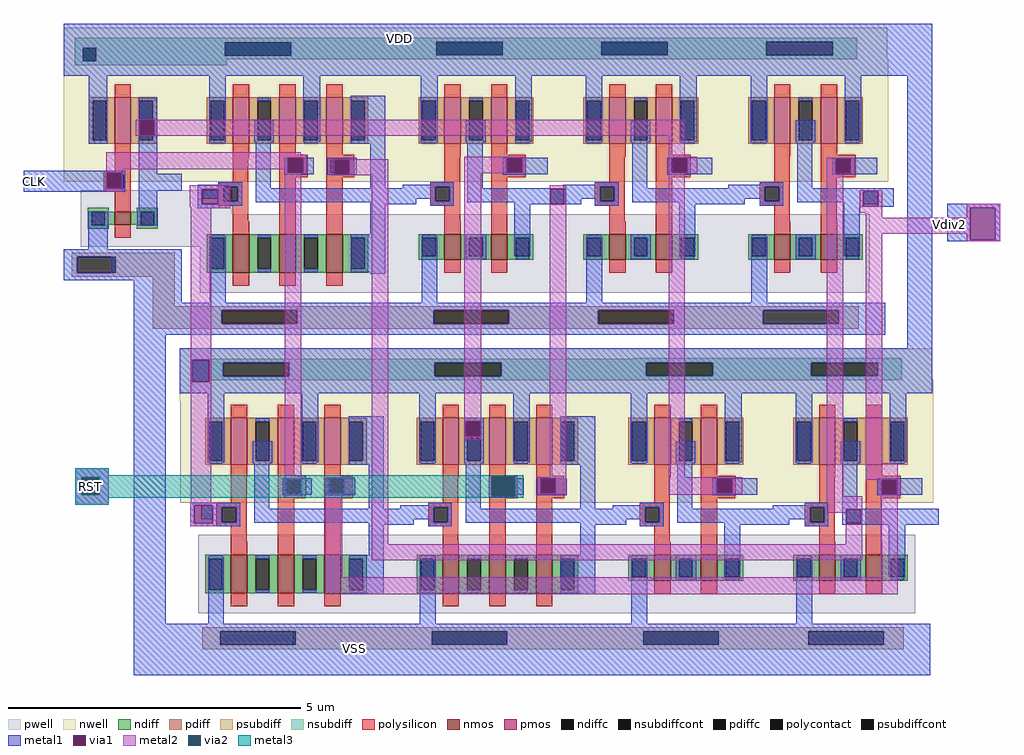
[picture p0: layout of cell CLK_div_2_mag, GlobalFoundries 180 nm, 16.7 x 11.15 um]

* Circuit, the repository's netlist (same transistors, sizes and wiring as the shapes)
* NGSPICE file created from CLK_div_2_mag.ext - technology: gf180mcuC

.subckt pmos_3p3_M8SWPS a_n28_n124# a_n116_n80# a_28_n80# w_n202_n210#
X0 a_28_n80# a_n28_n124# a_n116_n80# w_n202_n210# pfet_03v3 ad=0.352p pd=2.48u as=0.352p ps=2.48u w=0.8u l=0.28u
.ends

.subckt nmos_3p3_5QNVWA a_n116_n44# a_28_n44# a_n28_n88# VSUBS
X0 a_28_n44# a_n28_n88# a_n116_n44# VSUBS nfet_03v3 ad=0.194p pd=1.76u as=0.194p ps=1.76u w=0.44u l=0.28u
.ends

.subckt nand2_mag IN2 OUT IN1 VDD VSS
Xpmos_3p3_M8SWPS_0 IN1 OUT VDD VDD pmos_3p3_M8SWPS
Xpmos_3p3_M8SWPS_1 IN2 VDD OUT VDD pmos_3p3_M8SWPS
Xnmos_3p3_5QNVWA_0 VSS m1_186_70# IN2 VSS nmos_3p3_5QNVWA
Xnmos_3p3_5QNVWA_1 m1_186_70# OUT IN1 VSS nmos_3p3_5QNVWA
.ends

.subckt nmos_3p3_VGTVWA a_n116_n66# a_28_n66# a_n28_n110# VSUBS
X0 a_28_n66# a_n28_n110# a_n116_n66# VSUBS nfet_03v3 ad=0.29p pd=2.2u as=0.29p ps=2.2u w=0.66u l=0.28u
.ends

.subckt nand3_mag IN3 IN2 IN1 VDD VSS OUT
Xnmos_3p3_VGTVWA_0 nmos_3p3_VGTVWA_1/a_28_n66# nmos_3p3_VGTVWA_0/a_28_n66# IN2 VSS
+ nmos_3p3_VGTVWA
Xnmos_3p3_VGTVWA_1 VSS nmos_3p3_VGTVWA_1/a_28_n66# IN3 VSS nmos_3p3_VGTVWA
Xnmos_3p3_VGTVWA_2 nmos_3p3_VGTVWA_0/a_28_n66# OUT IN1 VSS nmos_3p3_VGTVWA
Xpmos_3p3_M8SWPS_0 IN1 VDD OUT VDD pmos_3p3_M8SWPS
Xpmos_3p3_M8SWPS_1 IN3 VDD OUT VDD pmos_3p3_M8SWPS
Xpmos_3p3_M8SWPS_2 IN2 OUT VDD VDD pmos_3p3_M8SWPS
.ends

.subckt pmos_3p3_MQGBLR a_n28_n124# a_n116_n80# a_28_n80# w_n202_n210#
X0 a_28_n80# a_n28_n124# a_n116_n80# w_n202_n210# pfet_03v3 ad=0.352p pd=2.48u as=0.352p ps=2.48u w=0.8u l=0.28u
.ends

.subckt nmos_3p3_DDNVWA a_n120_n36# a_28_n22# a_n28_n66# VSUBS
X0 a_28_n22# a_n28_n66# a_n120_n36# VSUBS nfet_03v3 ad=0.152p pd=1.64u as=0.152p ps=1.64u w=0.22u l=0.28u
.ends

.subckt GF_INV_MAG VDD VSS IN OUT
Xpmos_3p3_MQGBLR_0 IN VDD OUT VDD pmos_3p3_MQGBLR
Xnmos_3p3_DDNVWA_0 VSS OUT IN VSS nmos_3p3_DDNVWA
.ends

.subckt JK_FF_mag VDD CLK RST Q QB J K VSS
Xnand2_mag_1 nand2_mag_1/IN2 Q QB VDD VSS nand2_mag
Xnand3_mag_2 J CLK Q VDD VSS nand3_mag_2/OUT nand3_mag
Xnand2_mag_2 nand3_mag_0/OUT nand3_mag_1/IN1 nand3_mag_1/OUT VDD VSS nand2_mag
Xnand2_mag_3 nand3_mag_1/OUT nand2_mag_4/IN2 nand2_mag_3/IN1 VDD VSS nand2_mag
Xnand2_mag_4 nand2_mag_4/IN2 QB Q VDD VSS nand2_mag
XGF_INV_MAG_0 VDD VSS CLK nand2_mag_3/IN1 GF_INV_MAG
Xnand3_mag_0 K CLK QB VDD VSS nand3_mag_0/OUT nand3_mag
Xnand2_mag_0 nand3_mag_1/IN1 nand2_mag_1/IN2 nand2_mag_3/IN1 VDD VSS nand2_mag
Xnand3_mag_1 nand3_mag_2/OUT RST nand3_mag_1/IN1 VDD VSS nand3_mag_1/OUT nand3_mag
.ends

.subckt CLK_div_2_mag VSS VDD Vdiv2 CLK RST
XJK_FF_mag_0 VDD CLK RST Vdiv2 JK_FF_mag_0/QB VDD VDD VSS JK_FF_mag
.ends

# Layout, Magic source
magic
tech gf180mcuC
magscale 1 10
<< nwell >>
rect -70 1700 860 2228
<< nsubdiff >>
rect -32 2099 477 2193
<< metal1 >>
rect -70 2063 2901 2241
rect -206 1666 76 1738
rect 389 1675 500 1690
rect 389 1623 402 1675
rect 456 1623 500 1675
rect 389 1610 500 1623
rect 2952 1612 3133 1625
rect 2952 1502 3032 1612
rect 3116 1502 3133 1612
rect 2952 1496 3133 1502
rect -31 689 84 720
rect -31 629 -9 689
rect 51 629 84 689
rect -31 595 84 629
rect 1403 684 1502 686
rect 1403 632 1416 684
rect 1471 632 1502 684
rect 1403 629 1502 632
rect 1403 628 1483 629
rect 363 593 453 602
rect 363 532 377 593
rect 440 532 453 593
rect 363 522 453 532
rect 170 12 2895 189
<< via1 >>
rect 402 1623 456 1675
rect 3032 1502 3116 1612
rect 370 1016 427 1091
rect -9 629 51 689
rect 1416 632 1471 684
rect 377 532 440 593
<< metal2 >>
rect 361 1675 500 1688
rect 361 1623 402 1675
rect 456 1623 500 1675
rect 361 1615 500 1623
rect 364 1610 500 1615
rect 3020 1612 3133 1625
rect 364 1091 434 1610
rect 3020 1578 3032 1612
rect 2674 1522 3032 1578
rect 3020 1502 3032 1522
rect 3116 1502 3133 1612
rect 3020 1496 3133 1502
rect 364 1016 370 1091
rect 427 1016 434 1091
rect -31 689 84 720
rect -31 629 -9 689
rect 51 629 84 689
rect -31 595 84 629
rect 364 602 434 1016
rect 1384 692 1484 697
rect 1384 626 1394 692
rect 1473 626 1484 692
rect 1384 621 1484 626
rect 363 593 453 602
rect 363 532 377 593
rect 440 532 453 593
rect 363 522 453 532
<< via2 >>
rect -9 629 51 689
rect 1394 684 1473 692
rect 1394 632 1416 684
rect 1416 632 1471 684
rect 1471 632 1473 684
rect 1394 626 1473 632
<< metal3 >>
rect -31 696 84 720
rect -31 692 1502 696
rect -31 689 1394 692
rect -31 629 -9 689
rect 51 629 1394 689
rect -31 626 1394 629
rect 1473 626 1502 692
rect -31 620 1502 626
rect -31 595 84 620
use JK_FF_mag  JK_FF_mag_0
transform 1 0 320 0 1 80
box -430 0 2603 2148
<< labels >>
flabel metal1 925 105 925 105 0 FreeSans 640 0 0 0 VSS
port 0 nsew
flabel metal1 1080 2189 1080 2189 0 FreeSans 640 0 0 0 VDD
port 1 nsew
flabel metal2 2961 1553 2961 1553 0 FreeSans 640 0 0 0 Vdiv2
port 2 nsew
flabel metal1 -171 1702 -171 1702 0 FreeSans 640 0 0 0 CLK
port 3 nsew
flabel via2 20 657 20 657 0 FreeSans 640 0 0 0 RST
port 4 nsew
<< end >>

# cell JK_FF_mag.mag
magic
tech gf180mcuC
magscale 1 10
<< nwell >>
rect 568 2111 741 2148
rect 457 2077 851 2111
rect 1185 2081 1411 2113
rect 1749 2097 1976 2113
rect -42 2019 167 2065
rect 568 1993 741 2077
rect 1293 1993 1357 2081
rect 1796 2040 1976 2097
rect 1855 1993 1911 2040
rect -134 1833 -78 1834
rect -134 1832 -24 1833
rect -134 1830 -77 1832
rect -134 1815 -69 1818
rect -140 1777 -77 1782
rect 1621 1777 1735 1822
rect -144 1760 -79 1763
rect 1679 1759 1735 1777
rect -166 1721 368 1722
rect -166 1714 421 1721
rect -166 1674 899 1714
rect 980 1702 1116 1706
rect 1126 1703 1182 1706
rect 1690 1703 1756 1706
rect 2277 1700 2316 1702
rect 365 1657 899 1674
rect 429 1648 441 1657
rect 462 1648 611 1657
rect 1038 1649 1214 1651
rect 1126 1648 1182 1649
rect 1680 1648 1746 1651
rect 2302 1648 2316 1700
rect 2277 1646 2316 1648
rect 566 896 732 1051
rect 980 820 1038 901
rect 1291 896 1457 1051
rect 1891 991 2139 1017
rect 2015 896 2065 991
rect 1037 813 1038 820
rect 980 732 1047 813
rect 2403 636 2463 657
rect 2375 633 2463 636
rect 368 550 373 605
rect 422 550 425 618
rect 506 608 605 609
rect 506 606 573 608
rect 1230 606 1297 609
rect 506 605 582 606
rect 1230 605 1306 606
rect 506 602 573 605
rect 1164 596 1180 601
rect 366 539 425 550
rect 1125 551 1180 596
rect 1679 554 1833 609
rect 1843 606 1911 609
rect 2375 601 2460 633
rect 1230 551 1297 554
rect 1679 551 1901 554
rect 1125 549 1178 551
rect 1679 550 1833 551
<< pwell >>
rect -238 1398 186 1592
rect 408 1241 2365 1509
rect 402 144 2523 412
<< pdiff >>
rect 1037 810 1047 813
rect 983 808 1047 810
rect 981 799 1047 808
rect 983 795 1047 799
rect 1035 756 1047 795
rect 984 741 1047 756
rect 1037 737 1047 741
rect 1038 736 1047 737
<< psubdiff >>
rect -227 1296 -10 1377
rect -86 1194 -10 1296
rect -86 1181 165 1194
rect 446 1181 818 1194
rect 1146 1181 1385 1194
rect 1748 1181 1946 1194
rect -86 1118 2004 1181
rect 393 27 2161 97
rect 470 21 820 27
rect 1186 21 1536 27
rect 1904 21 2097 27
<< nsubdiff >>
rect 63 2104 915 2113
rect 1185 2104 1411 2113
rect 1749 2104 1976 2113
rect 63 2093 1976 2104
rect 63 2091 2013 2093
rect -168 2049 2013 2091
rect -168 2040 1976 2049
rect -168 2039 1803 2040
rect -168 2019 167 2039
rect 1891 1014 2139 1017
rect 393 942 2452 1014
<< polysilicon >>
rect 512 1697 603 1706
rect 581 1653 603 1697
rect 512 1650 603 1653
rect 368 550 373 605
<< metal1 >>
rect 568 2111 741 2148
rect 457 2077 851 2111
rect 1185 2081 1411 2113
rect 1749 2097 1976 2113
rect -42 2019 167 2065
rect 568 1993 741 2077
rect 1293 1993 1357 2081
rect 1796 2040 1976 2097
rect 1855 1993 1911 2040
rect 2272 1993 2581 2148
rect -380 1633 -350 1650
rect -390 1586 -337 1633
rect 512 1702 613 1703
rect 512 1697 524 1702
rect 576 1697 611 1702
rect 512 1651 524 1653
rect 512 1648 535 1651
rect 587 1648 611 1697
rect 86 1563 139 1610
rect 770 1599 812 1610
rect 1319 1599 1379 1610
rect 730 1544 816 1599
rect 1319 1596 1381 1599
rect 1326 1544 1381 1596
rect 1884 1544 1940 1610
rect 2344 1588 2401 1591
rect 2344 1586 2345 1588
rect 2333 1536 2345 1551
rect 2397 1586 2401 1588
rect 2408 1544 2449 1599
rect 2397 1536 2449 1544
rect 2333 1535 2449 1536
rect 2333 1514 2334 1535
rect -227 1297 -10 1377
rect -227 1296 13 1297
rect -150 1290 -41 1296
rect -21 1290 13 1296
rect -150 1283 13 1290
rect -150 1206 14 1283
rect -150 1097 64 1206
rect 569 1194 732 1206
rect 1287 1194 1302 1206
rect 1846 1194 1873 1206
rect 446 1173 818 1194
rect 1146 1173 1385 1194
rect 1748 1173 1946 1194
rect 569 1097 732 1173
rect 1287 1097 1302 1173
rect 1846 1097 1873 1173
rect -150 109 -41 1097
rect 566 896 732 1051
rect 1291 896 1457 1051
rect 2495 1050 2581 1993
rect 1891 991 2139 1017
rect 2015 896 2065 991
rect 2467 916 2581 1050
rect 980 801 1047 813
rect 980 749 984 801
rect 1036 749 1047 801
rect 980 732 1047 749
rect 506 605 518 606
rect 368 603 373 605
rect 368 551 371 603
rect 570 605 582 606
rect 1230 605 1242 606
rect 1164 596 1180 601
rect 1125 551 1180 596
rect 1294 605 1306 606
rect 368 550 373 551
rect 1125 549 1178 551
rect 80 466 133 513
rect 761 502 804 513
rect 1489 502 1528 513
rect 739 447 807 502
rect 1463 447 1535 502
rect 2036 447 2092 513
rect 2282 500 2289 512
rect 2282 453 2287 500
rect 2273 448 2287 453
rect 2339 448 2444 458
rect 2469 452 2524 499
rect 2273 447 2444 448
rect -150 106 2 109
rect -150 0 4 106
rect 561 40 724 109
rect 1285 40 1448 109
rect 470 21 820 40
rect 1186 21 1536 40
rect 2006 36 2038 109
rect 1904 21 2097 36
rect 561 0 724 21
rect 1285 0 1448 21
rect 2006 0 2038 21
<< via1 >>
rect -132 1780 -80 1832
rect -243 1600 -191 1652
rect 377 1651 429 1703
rect 535 1645 587 1697
rect 1127 1651 1179 1703
rect 1691 1651 1743 1703
rect 2251 1648 2303 1700
rect 1274 1544 1326 1596
rect 2345 1536 2397 1588
rect 984 749 1036 801
rect 371 551 423 603
rect 518 554 570 606
rect 1242 554 1294 606
rect 1845 554 1897 606
rect 2408 549 2460 601
rect 2287 448 2339 500
<< metal2 >>
rect -134 1833 -78 1834
rect -144 1832 1735 1833
rect -144 1780 -132 1832
rect -80 1780 1735 1832
rect -144 1777 1735 1780
rect -245 1714 421 1721
rect -245 1712 429 1714
rect -245 1703 441 1712
rect 1679 1706 1735 1777
rect -245 1664 377 1703
rect -245 1652 -188 1664
rect -245 1600 -243 1652
rect -191 1600 -188 1652
rect 365 1651 377 1664
rect 429 1651 441 1703
rect 980 1703 1191 1706
rect 365 1648 441 1651
rect 523 1698 589 1699
rect 523 1697 720 1698
rect -245 1587 -188 1600
rect 366 618 422 1648
rect 523 1645 535 1697
rect 587 1645 720 1697
rect 523 1642 720 1645
rect 366 603 425 618
rect 506 606 605 609
rect 366 551 371 603
rect 423 551 425 603
rect 366 539 425 551
rect 505 554 518 606
rect 570 554 605 606
rect 505 551 605 554
rect 505 268 562 551
rect 664 381 720 1642
rect 980 1651 1127 1703
rect 1179 1651 1191 1703
rect 980 1649 1191 1651
rect 1679 1703 1778 1706
rect 1679 1651 1691 1703
rect 1743 1651 1778 1703
rect 980 801 1038 1649
rect 1679 1648 1778 1651
rect 2221 1700 2316 1702
rect 2221 1648 2251 1700
rect 2303 1648 2316 1700
rect 1273 1600 1329 1608
rect 1272 1596 1329 1600
rect 1272 1544 1274 1596
rect 1326 1544 1329 1596
rect 1272 1542 1329 1544
rect 980 749 984 801
rect 1036 749 1038 801
rect 980 737 1038 749
rect 1273 609 1329 1542
rect 1230 606 1329 609
rect 1230 554 1242 606
rect 1294 554 1329 606
rect 1230 551 1329 554
rect 1679 609 1735 1648
rect 2221 1646 2316 1648
rect 1679 606 1932 609
rect 1679 554 1845 606
rect 1897 554 1932 606
rect 1679 551 1932 554
rect 1679 550 1833 551
rect 2221 544 2277 1646
rect 2333 1588 2410 1591
rect 2333 1536 2345 1588
rect 2397 1536 2410 1588
rect 2333 1514 2410 1536
rect 2354 657 2410 1514
rect 2354 601 2463 657
rect 2405 549 2408 601
rect 2460 549 2463 601
rect 2221 500 2341 544
rect 2221 488 2287 500
rect 2285 448 2287 488
rect 2339 448 2341 500
rect 2285 381 2341 448
rect 664 325 2341 381
rect 2405 268 2463 549
rect 505 210 2463 268
use GF_INV_MAG  GF_INV_MAG_0
transform 1 0 -272 0 1 1458
box -118 -175 286 666
use nand2_mag  nand2_mag_0
transform 1 0 1364 0 1 1285
box -70 -188 521 863
use nand2_mag  nand2_mag_1
transform 1 0 1928 0 1 1285
box -70 -188 521 863
use nand2_mag  nand2_mag_2
transform 1 0 800 0 1 1285
box -70 -188 521 863
use nand2_mag  nand2_mag_3
transform 1 0 1518 0 1 188
box -70 -188 521 863
use nand2_mag  nand2_mag_4
transform 1 0 2082 0 1 188
box -70 -188 521 863
use nand3_mag  nand3_mag_0
transform 1 0 76 0 1 1285
box -70 -188 671 863
use nand3_mag  nand3_mag_1
transform 1 0 794 0 1 188
box -70 -188 671 863
use nand3_mag  nand3_mag_2
transform 1 0 70 0 1 188
box -70 -188 671 863
<< labels >>
flabel metal1 650 2060 650 2060 0 FreeSans 320 0 0 0 VDD
port 1 nsew
flabel metal1 630 1130 630 1130 0 FreeSans 320 0 0 0 VSS
port 2 nsew
flabel metal1 -370 1610 -370 1610 0 FreeSans 320 0 0 0 CLK
port 3 nsew
flabel metal1 1170 570 1170 570 0 FreeSans 320 0 0 0 RST
port 6 nsew
flabel metal1 2485 473 2485 473 0 FreeSans 480 0 0 0 QB
port 8 nsew
flabel metal1 2430 1560 2430 1560 0 FreeSans 320 0 0 0 Q
port 7 nsew
flabel metal1 94 506 94 506 0 FreeSans 640 0 0 0 J
port 9 nsew
flabel metal1 104 1597 104 1597 0 FreeSans 640 0 0 0 K
port 10 nsew
<< end >>

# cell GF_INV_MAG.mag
magic
tech gf180mcuC
magscale 1 10
<< nwell >>
rect -118 526 286 666
rect -84 525 271 526
rect -32 292 31 525
<< psubdiff >>
rect -91 -94 83 -81
rect -91 -149 -71 -94
rect 60 -149 83 -94
rect -91 -162 83 -149
<< nsubdiff >>
rect -80 620 176 642
rect -80 574 -53 620
rect -7 574 176 620
rect -80 561 176 574
<< psubdiffcont >>
rect -71 -149 60 -94
<< nsubdiffcont >>
rect -53 574 -7 620
<< polysilicon >>
rect 56 200 112 248
rect 18 187 112 200
rect 18 141 31 187
rect 87 141 112 187
rect 18 128 112 141
rect 56 103 112 128
<< polycontact >>
rect 31 141 87 187
<< metal1 >>
rect -118 620 286 631
rect -118 574 -53 620
rect -7 574 286 620
rect -118 525 286 574
rect -32 292 31 525
rect -118 187 93 200
rect -118 141 31 187
rect 87 141 93 187
rect -118 128 93 141
rect 139 189 202 450
rect 139 131 286 189
rect -34 -69 33 60
rect 139 14 202 131
rect -118 -94 286 -69
rect -118 -149 -71 -94
rect 60 -149 286 -94
rect -118 -175 286 -149
use nmos_3p3_DDNVWA  nmos_3p3_DDNVWA_0
transform 1 0 84 0 1 37
box -144 -97 144 97
use pmos_3p3_MQGBLR  pmos_3p3_MQGBLR_0
transform 1 0 84 0 1 372
box -202 -210 202 210
<< labels >>
flabel metal1 -106 158 -106 158 0 FreeSans 640 0 0 0 IN
port 2 nsew
flabel metal1 276 159 276 159 0 FreeSans 640 0 0 0 OUT
port 3 nsew
flabel psubdiffcont -11 -123 -11 -123 0 FreeSans 640 0 0 0 VSS
port 4 nsew
<< end >>

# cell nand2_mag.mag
magic
tech gf180mcuC
magscale 1 10
<< nwell >>
rect -64 682 500 863
<< psubdiff >>
rect 13 -105 402 -91
rect 13 -151 75 -105
rect 333 -151 402 -105
rect 13 -167 402 -151
<< nsubdiff >>
rect 41 814 395 828
rect 41 768 85 814
rect 312 768 395 814
rect 41 755 395 768
<< psubdiffcont >>
rect 75 -151 333 -105
<< nsubdiffcont >>
rect 85 768 312 814
<< polysilicon >>
rect 311 421 391 427
rect 112 334 166 421
rect 63 318 166 334
rect 63 268 81 318
rect 130 268 166 318
rect 63 254 166 268
rect 112 200 166 254
rect 272 414 391 421
rect 272 366 326 414
rect 374 366 391 414
rect 272 360 391 366
rect 272 350 390 360
rect 272 200 327 350
<< polycontact >>
rect 81 268 130 318
rect 326 366 374 414
<< metal1 >>
rect -64 817 500 863
rect -64 814 499 817
rect -64 768 85 814
rect 312 768 499 814
rect -64 708 499 768
rect 32 471 89 708
rect 186 470 253 545
rect 354 473 411 708
rect 63 325 144 334
rect 10 318 144 325
rect 10 278 81 318
rect 63 268 81 278
rect 130 268 144 318
rect 63 254 144 268
rect 191 314 243 470
rect 311 414 465 418
rect 311 366 326 414
rect 374 366 465 414
rect 311 361 465 366
rect 311 360 391 361
rect 191 265 521 314
rect 351 259 521 265
rect 34 -79 88 149
rect 186 70 255 156
rect 351 80 406 259
rect -70 -105 493 -79
rect -70 -151 75 -105
rect 333 -151 493 -105
rect -70 -188 493 -151
use nmos_3p3_5QNVWA  nmos_3p3_5QNVWA_0
transform 1 0 140 0 1 112
box -140 -112 140 112
use nmos_3p3_5QNVWA  nmos_3p3_5QNVWA_1
transform 1 0 300 0 1 112
box -140 -112 140 112
use pmos_3p3_M8SWPS  pmos_3p3_M8SWPS_0
transform 1 0 300 0 1 545
box -202 -210 202 210
use pmos_3p3_M8SWPS  pmos_3p3_M8SWPS_1
transform 1 0 140 0 1 545
box -202 -210 202 210
<< labels >>
flabel metal1 25 300 25 300 0 FreeSans 320 0 0 0 IN2
port 0 nsew
flabel metal1 495 289 495 289 0 FreeSans 320 0 0 0 OUT
port 1 nsew
flabel metal1 445 398 445 398 0 FreeSans 320 0 0 0 IN1
port 2 nsew
flabel psubdiffcont 210 -130 210 -130 0 FreeSans 320 0 0 0 VSS
port 4 nsew
flabel nsubdiffcont 196 796 196 796 0 FreeSans 480 0 0 0 VDD
port 3 nsew
<< end >>

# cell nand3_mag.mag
magic
tech gf180mcuC
magscale 1 10
<< nwell >>
rect -64 682 500 863
rect 295 365 304 418
rect 345 366 354 417
rect 382 361 389 418
rect 485 417 528 421
rect 435 414 484 417
rect 485 414 529 417
rect 435 365 447 414
rect 435 360 442 365
rect 485 364 528 414
<< psubdiff >>
rect 13 -105 402 -91
rect 13 -151 75 -105
rect 333 -151 402 -105
rect 13 -167 402 -151
<< nsubdiff >>
rect 41 813 395 826
rect 41 767 85 813
rect 312 767 395 813
rect 41 754 395 767
<< psubdiffcont >>
rect 75 -151 333 -105
<< nsubdiffcont >>
rect 85 767 312 813
<< polysilicon >>
rect 289 421 369 427
rect 112 334 166 421
rect 63 318 166 334
rect 63 268 81 318
rect 130 268 166 318
rect 63 254 166 268
rect 112 200 166 254
rect 272 414 369 421
rect 272 366 300 414
rect 348 366 369 414
rect 272 360 369 366
rect 432 414 528 427
rect 432 366 447 414
rect 495 366 528 414
rect 272 350 368 360
rect 432 350 528 366
rect 272 200 328 350
rect 432 200 488 350
<< polycontact >>
rect 81 268 130 318
rect 300 366 348 414
rect 447 366 495 414
<< metal1 >>
rect -64 817 500 863
rect -64 813 499 817
rect -64 767 85 813
rect 312 767 499 813
rect -64 708 499 767
rect 32 471 89 708
rect 186 470 253 545
rect 354 473 411 708
rect 63 325 144 334
rect 10 318 144 325
rect 10 278 81 318
rect 63 268 81 278
rect 130 268 144 318
rect 63 254 144 268
rect 191 314 243 470
rect 515 465 634 630
rect 289 414 389 418
rect 289 366 300 414
rect 348 366 389 414
rect 289 361 389 366
rect 435 414 537 417
rect 435 366 447 414
rect 495 366 537 414
rect 289 360 369 361
rect 435 360 537 366
rect 583 314 634 465
rect 191 265 671 314
rect 583 259 671 265
rect 583 155 634 259
rect 34 -79 88 149
rect 516 25 634 155
rect 583 21 634 25
rect -70 -105 493 -79
rect -70 -151 75 -105
rect 333 -151 493 -105
rect -70 -188 493 -151
use nmos_3p3_VGTVWA  nmos_3p3_VGTVWA_0
transform 1 0 300 0 1 90
box -140 -134 140 134
use nmos_3p3_VGTVWA  nmos_3p3_VGTVWA_1
transform 1 0 140 0 1 90
box -140 -134 140 134
use nmos_3p3_VGTVWA  nmos_3p3_VGTVWA_2
transform 1 0 460 0 1 90
box -140 -134 140 134
use pmos_3p3_M8SWPS  pmos_3p3_M8SWPS_0
transform 1 0 460 0 1 545
box -202 -210 202 210
use pmos_3p3_M8SWPS  pmos_3p3_M8SWPS_1
transform 1 0 140 0 1 545
box -202 -210 202 210
use pmos_3p3_M8SWPS  pmos_3p3_M8SWPS_2
transform 1 0 300 0 1 545
box -202 -210 202 210
<< labels >>
flabel metal1 30 300 30 300 0 FreeSans 320 0 0 0 IN3
port 0 nsew
flabel metal1 380 380 380 380 0 FreeSans 320 0 0 0 IN2
port 1 nsew
flabel metal1 530 390 530 390 0 FreeSans 320 0 0 0 IN1
port 2 nsew
flabel psubdiffcont 200 -130 200 -130 0 FreeSans 320 0 0 0 VSS
port 4 nsew
flabel metal1 620 290 620 290 0 FreeSans 320 0 0 0 OUT
port 5 nsew
flabel nsubdiffcont 200 789 200 789 0 FreeSans 320 0 0 0 VDD
port 3 nsew
<< end >>

# cell nmos_3p3_VGTVWA: kit device nmos_3p3, w 0.660 l 0.280 m 1 nf 1 diffcov 100 polycov 100 guard 0 glc 0 grc 0 gtc 0 gbc 0 tbcov 100 rlcov 100 topc 0 botc 0 poverlap 0 doverlap 1 lmin 0.28 wmin 0.22 full_metal 0 compatible {nmos_3p3 nmos_6p0 nmos_6p0_nat}

# cell pmos_3p3_M8SWPS: kit device pmos_3p3, w 0.80 l 0.280 m 1 nf 1 diffcov 100 polycov 100 guard 0 glc 0 grc 0 gtc 0 gbc 0 tbcov 100 rlcov 100 topc 0 botc 0 poverlap 0 doverlap 1 lmin 0.28 wmin 0.22 full_metal 0 compatible {pmos_3p3 pmos_6p0}

# cell nmos_3p3_5QNVWA: kit device nmos_3p3, w 0.440 l 0.280 m 1 nf 1 diffcov 100 polycov 100 guard 0 glc 0 grc 0 gtc 0 gbc 0 tbcov 100 rlcov 100 topc 0 botc 0 poverlap 0 doverlap 1 lmin 0.28 wmin 0.22 full_metal 0 compatible {nmos_3p3 nmos_6p0 nmos_6p0_nat}

# cell nmos_3p3_DDNVWA: kit device nmos_3p3, w 0.220 l 0.280 m 1 nf 1 diffcov 100 polycov 100 guard 0 glc 0 grc 0 gtc 0 gbc 0 tbcov 100 rlcov 100 topc 0 botc 0 poverlap 0 doverlap 1 lmin 0.28 wmin 0.22 full_metal 0 compatible {nmos_3p3 nmos_6p0 nmos_6p0_nat}

# cell pmos_3p3_MQGBLR: kit device pmos_3p3, w 0.8 l 0.280 m 1 nf 1 diffcov 100 polycov 100 guard 0 glc 0 grc 0 gtc 0 gbc 0 tbcov 100 rlcov 100 topc 0 botc 0 poverlap 0 doverlap 1 lmin 0.28 wmin 0.22 full_metal 0 compatible {pmos_3p3 pmos_6p0}
